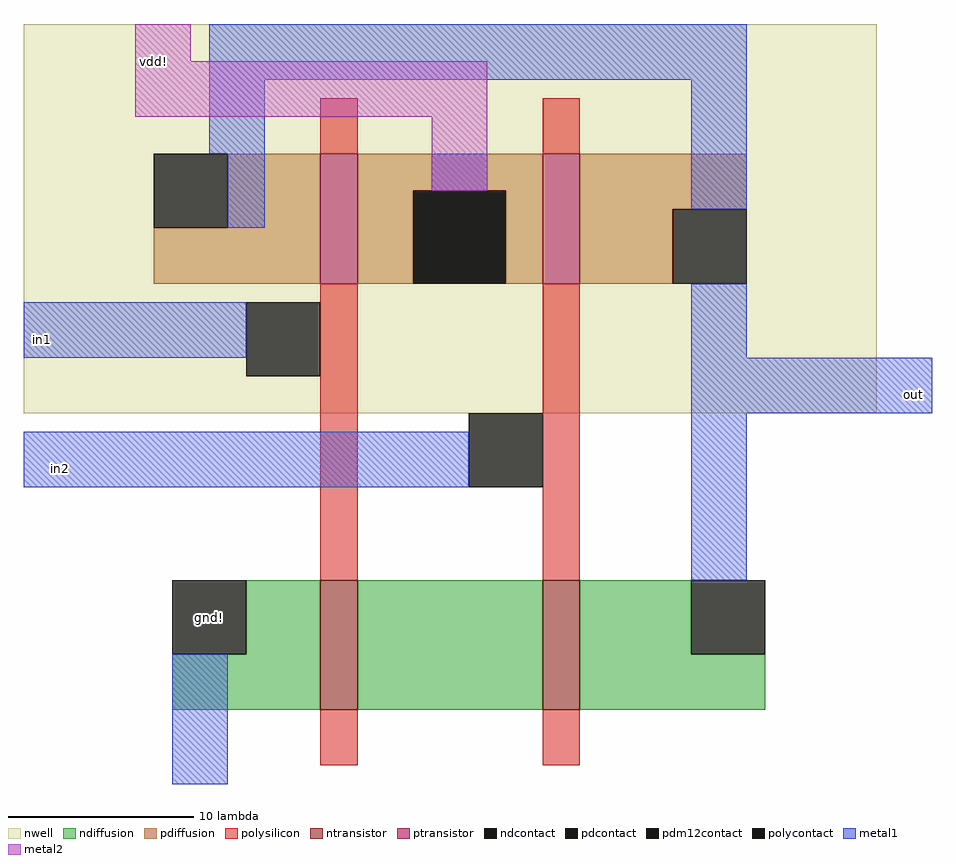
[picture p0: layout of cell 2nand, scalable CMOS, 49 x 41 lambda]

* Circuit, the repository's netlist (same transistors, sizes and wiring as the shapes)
* SPICE3 file created from 2nand.ext - technology: scmos
.include TSMC_180nm.txt
.option scale=0.09u

M1000 out in2 a_n21_1# Gnd CMOSN w=7 l=2
+  ad=70 pd=34 as=70 ps=34
M1001 a_n21_1# in1 gnd Gnd CMOSN w=7 l=2
+  ad=0 pd=0 as=56 ps=30
M1002 out in2 vdd w_n39_17# CMOSP w=7 l=2
+  ad=126 pd=64 as=70 ps=34
M1003 vdd in1 out w_n39_17# CMOSP w=7 l=2
+  ad=0 pd=0 as=0 ps=0


Vdd vdd gnd 2

V_in_a in1 gnd DC 2
V_in_b in2 gnd DC 2

.tran 1u 10000u




.control
run
set color0 = rgb:f/f/e
set color1 = black
plot v(out) v(in1) v(in2)
.endc
.end

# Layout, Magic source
magic
tech scmos
<< nwell >>
rect -39 17 7 38
<< ntransistor >>
rect -23 1 -21 8
rect -11 1 -9 8
<< ptransistor >>
rect -23 24 -21 31
rect -11 24 -9 31
<< ndiffusion >>
rect -27 4 -23 8
rect -31 1 -23 4
rect -21 1 -11 8
rect -9 4 -3 8
rect -9 1 1 4
<< pdiffusion >>
rect -28 27 -23 31
rect -32 24 -23 27
rect -21 29 -11 31
rect -21 24 -18 29
rect -13 24 -11 29
rect -9 28 0 31
rect -9 24 -4 28
<< ndcontact >>
rect -31 4 -27 8
rect -3 4 1 8
<< pdcontact >>
rect -32 27 -28 31
rect -18 24 -13 29
rect -4 24 0 28
<< polysilicon >>
rect -23 31 -21 34
rect -11 31 -9 34
rect -23 8 -21 24
rect -11 8 -9 24
rect -23 -2 -21 1
rect -11 -2 -9 1
<< polycontact >>
rect -27 19 -23 23
rect -15 13 -11 17
<< metal1 >>
rect -29 35 0 38
rect -29 31 -26 35
rect -28 27 -26 31
rect -17 29 -14 31
rect -3 28 0 35
rect -39 20 -27 23
rect -3 20 0 24
rect -3 17 10 20
rect -39 13 -15 16
rect -3 8 0 17
rect -31 -3 -28 4
<< pdm12contact >>
rect -18 24 -13 29
<< metal2 >>
rect -33 36 -30 38
rect -33 33 -14 36
rect -17 29 -14 33
<< labels >>
rlabel metal1 9 18 9 18 7 out
rlabel ndcontact -29 6 -29 6 1 gnd!
rlabel metal2 -32 36 -32 36 5 vdd!
rlabel metal1 -38 21 -38 21 3 in1
rlabel metal1 -37 14 -37 14 3 in2
<< end >>
